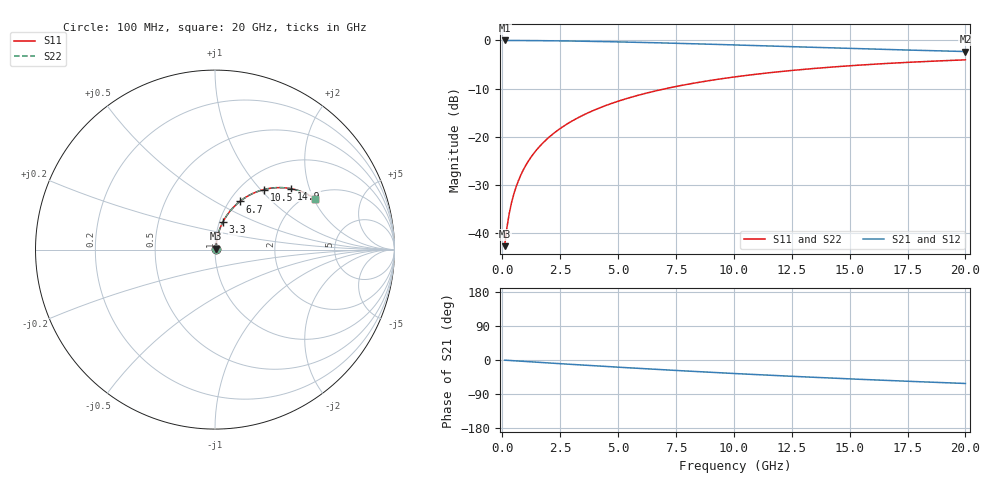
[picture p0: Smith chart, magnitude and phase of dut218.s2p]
! Touchstone file exported from HFSS 2026.1.0
!  File:  C:/ffzhzh/LocalFiles/Ansys_Project_Files/temp_train_TMRDL_218_1782984265_41620.aedt
!  Generated:  05:25:51 PM Jul  2, 2026
!  Design:  TMRDL
!  Project:  temp_train_TMRDL_218_1782984265_41620
! Variables:
!  h_bsmrdl = 2um
!  h_ox = 20um
!  h_rdl = 5um
!  h_sub = 80um
!  h_tmrdl = 5.97um
!  h_tsv = 80um
!  h_via = 3um
!  l_bsmrdl = 300um
!  l_sub = 1330.36um
!  l_tmrdl = 930.36um
!  m_sub = 200um
!  pitch = 50.18um
!  r_tsv = 6um
!  s_tmrdl = 10um
!  w_bsmrdl = 18um
!  w_sub = 500um
!  w_tmrdl = 10.21um
!  x_tsv_center1 = 935.465um
!  x_tsv_center2 = 1253.465um
!  x_tsv_center3 = 2194.035um
!  x_tsv_center4 = 2512.035um
!  x_tsv_center5 = 3452.605um
!  x_tsv_center6 = 3770.605um
# GHz S MA R 50.000000
! Terminal data exported
! Port[1] = TM_RDL1_1_T1
! Port[2] = TM_RDL1_1_T2
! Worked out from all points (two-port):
!   200 points, 100 MHz to 20 GHz, reference 50 ohm
!   highest |S21| = -0.05 dB at 100 MHz (marker M1); lowest = -2.3 dB at 20 GHz (marker M2)
!   |S21| within 3 dB of the highest: start of sweep to end of sweep
!   lowest |S11| = -42.6 dB at 100 MHz (marker M3), VSWR 1.01, Z = 50.5 + j0.51 ohm
!   |S11| at or under -10 dB: start of sweep to 7.078 GHz
!   |S22| runs from -42.6 to -4.1 dB; largest |S21 - S12| = 1e-14
!   S11 on the Smith chart (normalised r, x): 100 MHz: 1.01, +0.01; 3.3 GHz: 1.04, +0.33; 6.7 GHz: 1.12, +0.66; 10.5 GHz: 1.27, +1.04; 14.9 GHz: 1.57, +1.51; 20 GHz: 2.23, +2.06
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0.1  0.007384 43.1  0.9946 -0.4  0.9946 -0.4  0.007384 43.1
! Gamma 0 0 0 0
! Port Impedance 50 0 50 0
0.2  0.01149 61.0  0.9945 -0.8  0.9945 -0.8  0.01149 61.0
0.3  0.01611 68.7  0.9943 -1.2  0.9943 -1.2  0.01611 68.7
0.4  0.02087 72.7  0.9942 -1.6  0.9942 -1.6  0.02087 72.7
0.5  0.02569 75.1  0.9939 -2.0  0.9939 -2.0  0.02569 75.1
0.7  0.03538 77.6  0.9935 -2.8  0.9935 -2.8  0.03538 77.6
1  0.04996 79.0  0.9926 -3.9  0.9926 -3.9  0.04996 79.0
1.4  0.06937 79.1  0.9911 -5.5  0.9911 -5.5  0.06937 79.1
1.9  0.09346 78.3  0.9886 -7.4  0.9886 -7.4  0.09346 78.3
2.5  0.1219 76.7  0.9849 -9.7  0.9849 -9.7  0.1219 76.7
3.3  0.159 74.1  0.9786 -12.7  0.9786 -12.7  0.159 74.1
3.5  0.1681 73.5  0.9768 -13.5  0.9768 -13.5  0.1681 73.5
4.9  0.2293 68.7  0.9626 -18.6  0.9626 -18.6  0.2293 68.7
6.7  0.3019 62.7  0.9406 -24.9  0.9406 -24.9  0.3019 62.7
6.8  0.3057 62.4  0.9393 -25.2  0.9393 -25.2  0.3057 62.4
8.3  0.3603 57.6  0.9189 -30.2  0.9189 -30.2  0.3603 57.6
10.1  0.4192 52.1  0.8931 -35.9  0.8931 -35.9  0.4192 52.1
10.5  0.4312 50.9  0.8872 -37.1  0.8872 -37.1  0.4312 50.9
13.4  0.5086 42.7  0.8454 -45.5  0.8454 -45.5  0.5086 42.8
14.9  0.5419 38.8  0.8247 -49.5  0.8247 -49.5  0.5419 38.8
16.7  0.5765 34.3  0.8014 -54.1  0.8014 -54.1  0.5765 34.4
20  0.6265 26.7  0.764 -61.9  0.764 -61.9  0.6265 26.7
